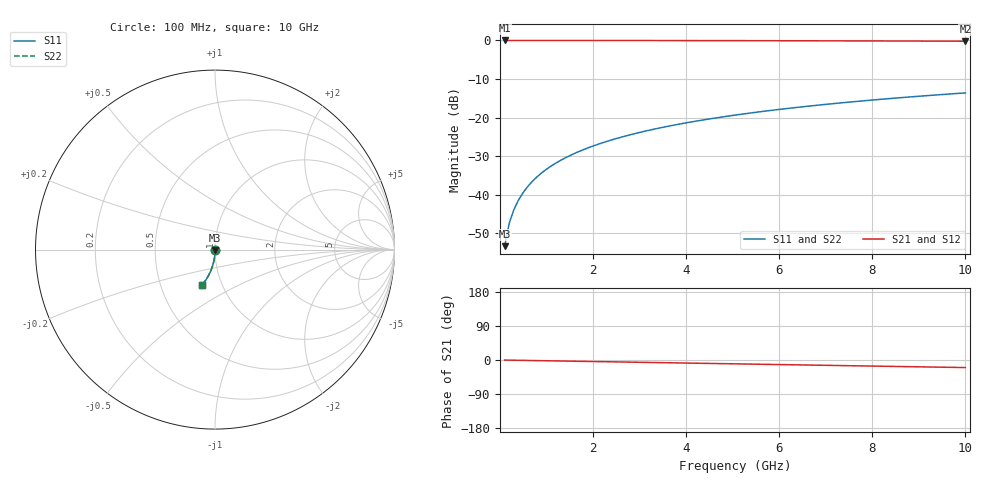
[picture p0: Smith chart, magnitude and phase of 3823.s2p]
# Hz S RI R 50.00
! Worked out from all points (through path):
!   100 points, 100 MHz to 10 GHz, reference 50 ohm
!   highest |S21| = 0.00 dB at 100 MHz (marker M1); lowest = -0.2 dB at 10 GHz (marker M2)
!   group delay of S21, straight-line fit = 5.56 ps
!   lowest |S11| = -53.3 dB at 100 MHz (marker M3), VSWR 1.00, Z = 50 - j0.214 ohm
!   |S11| at or under -10 dB: start of sweep to end of sweep
!   |S22| runs from -53.3 to -13.6 dB; largest |S21 - S12| = 0
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1e8  0.00024 -0.00214  0.9997 -0.0035  0.9997 -0.0035  0.00024 -0.00214
2e8  0.000217 -0.00428  0.9997 -0.00701  0.9997 -0.00701  0.000217 -0.00428
3e8  0.000178 -0.00643  0.9997 -0.0105  0.9997 -0.0105  0.000178 -0.00643
4e8  0.000124 -0.00857  0.9996 -0.014  0.9996 -0.014  0.000124 -0.00857
5e8  5.43e-05 -0.0107  0.9995 -0.0175  0.9995 -0.0175  5.43e-05 -0.0107
6e8  -3.02e-05 -0.0129  0.9994 -0.021  0.9994 -0.021  -3.02e-05 -0.0129
7e8  -0.00013 -0.015  0.9993 -0.0245  0.9993 -0.0245  -0.00013 -0.015
8e8  -0.000244 -0.0171  0.9992 -0.028  0.9992 -0.028  -0.000244 -0.0171
9e8  -0.000374 -0.0193  0.999 -0.0315  0.999 -0.0315  -0.000374 -0.0193
1.1e9  -0.000679 -0.0236  0.9987 -0.0385  0.9987 -0.0385  -0.000679 -0.0236
1.4e9  -0.00125 -0.03  0.998 -0.049  0.998 -0.049  -0.00125 -0.03
1.8e9  -0.00222 -0.0385  0.997 -0.063  0.997 -0.063  -0.00222 -0.0385
2.1e9  -0.0031 -0.0449  0.996 -0.0735  0.996 -0.0735  -0.0031 -0.0449
2.5e9  -0.00449 -0.0533  0.9944 -0.0874  0.9944 -0.0874  -0.00449 -0.0533
2.9e9  -0.00611 -0.0618  0.9926 -0.1013  0.9926 -0.1013  -0.00611 -0.0618
3.4e9  -0.00847 -0.0722  0.9899 -0.1186  0.9899 -0.1186  -0.00847 -0.0722
4.2e9  -0.013 -0.0888  0.9848 -0.1461  0.9848 -0.1461  -0.013 -0.0888
5.1e9  -0.0192 -0.107  0.9778 -0.1767  0.9778 -0.1767  -0.0192 -0.107
5.9e9  -0.0257 -0.1229  0.9705 -0.2036  0.9705 -0.2036  -0.0257 -0.1229
6.7e9  -0.033 -0.1383  0.9622 -0.2301  0.9622 -0.2301  -0.033 -0.1383
8.4e9  -0.0512 -0.1695  0.9416 -0.2848  0.9416 -0.2848  -0.0512 -0.1695
1e10  -0.0714 -0.1964  0.9185 -0.334  0.9185 -0.334  -0.0714 -0.1964
